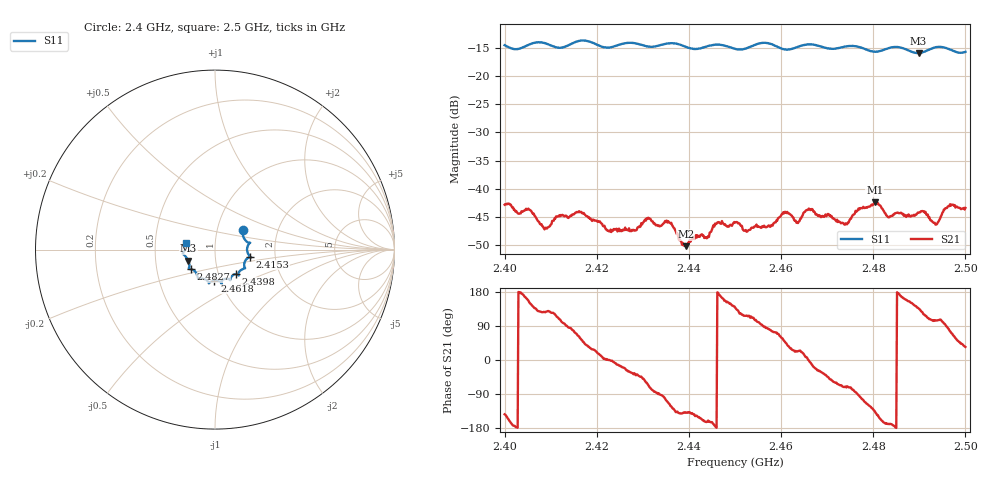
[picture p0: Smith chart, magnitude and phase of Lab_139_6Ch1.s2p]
# Hz S RI R 50
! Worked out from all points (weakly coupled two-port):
!   601 points, 2.4 GHz to 2.5 GHz, reference 50 ohm
!   highest |S21| = -42.43 dB at 2.4803 GHz (marker M1); lowest = -50.2 dB at 2.4393 GHz (marker M2)
!   lowest |S11| = -15.9 dB at 2.4898 GHz (marker M3), VSWR 1.38, Z = 36.9 - j4.62 ohm
!   |S11| at or under -10 dB: start of sweep to end of sweep
!   S12 and S22 are empty: the file has one direction only
!   S11 on the Smith chart (normalised r, x): 2.4 GHz: 1.33, +0.29; 2.4153 GHz: 1.48, -0.12; 2.4398 GHz: 1.21, -0.34; 2.4618 GHz: 0.94, -0.33; 2.4827 GHz: 0.75, -0.17; 2.5 GHz: 0.72, +0.06
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2.4e9  0.1552 0.1064  -0.00579 -0.00432  0 0  0 0
2.408833e9  0.1926 0.0356  -0.00265 0.00365  0 0  0 0
2.415333e9  0.1966 -0.0393  0.00192 0.00581  0 0  0 0
2.416667e9  0.2025 -0.0434  0.0037 0.00501  0 0  0 0
2.422667e9  0.164 -0.0724  0.00419 1.44e-05  0 0  0 0
2.433333e9  0.13 -0.1336  -6.49e-06 -0.00467  0 0  0 0
2.435667e9  0.1312 -0.1448  -0.00214 -0.00455  0 0  0 0
2.439333e9  0.1203 -0.1365  -0.00234 -0.00203  0 0  0 0
2.439833e9  0.1158 -0.1361  -0.0025 -0.00217  0 0  0 0
2.45e9  0.0648 -0.1622  -0.00379 0.00328  0 0  0 0
2.4525e9  0.041 -0.172  -0.00191 0.0037  0 0  0 0
2.461833e9  -0.00329 -0.1725  0.00502 0.00326  0 0  0 0
2.4635e9  -0.0237 -0.1795  0.00468 0.00192  0 0  0 0
2.466667e9  -0.0345 -0.1879  0.00647 -0.00137  0 0  0 0
2.474e9  -0.0886 -0.1604  0.00168 -0.00464  0 0  0 0
2.480333e9  -0.1125 -0.1201  -0.00538 -0.00531  0 0  0 0
2.482667e9  -0.135 -0.1088  -0.0059 -0.00125  0 0  0 0
2.483333e9  -0.1401 -0.1083  -0.00546 -0.0011  0 0  0 0
2.489833e9  -0.1481 -0.0611  -0.00441 0.00424  0 0  0 0
2.4935e9  -0.1786 -0.0242  -0.00124 0.00465  0 0  0 0
2.496667e9  -0.1721 -0.0107  0.00175 0.00708  0 0  0 0
2.5e9  -0.1596 0.0385  0.00557 0.00383  0 0  0 0
